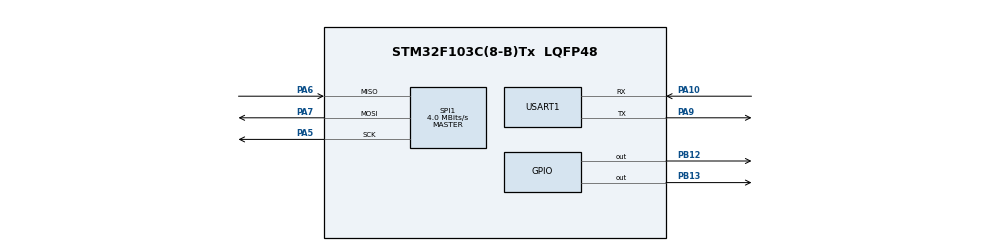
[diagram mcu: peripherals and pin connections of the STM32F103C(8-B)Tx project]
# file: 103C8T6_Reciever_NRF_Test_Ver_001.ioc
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Mcu.Family=STM32F1
Mcu.Name=STM32F103C(8-B)Tx
Mcu.Package=LQFP48
NVIC.PriorityGroup=NVIC_PRIORITYGROUP_4
PA10.Mode=Asynchronous
PA10.Signal=USART1_RX
PA13.Mode=Serial_Wire
PA13.Signal=SYS_JTMS-SWDIO
PA14.Mode=Serial_Wire
PA14.Signal=SYS_JTCK-SWCLK
PA5.Mode=Full_Duplex_Master
PA5.Signal=SPI1_SCK
PA6.Mode=Full_Duplex_Master
PA6.Signal=SPI1_MISO
PA7.Mode=Full_Duplex_Master
PA7.Signal=SPI1_MOSI
PA9.Mode=Asynchronous
PA9.Signal=USART1_TX
PB12.Signal=GPIO_Output
PB13.Signal=GPIO_Output
PC14-OSC32_IN.Mode=LSE-External-Oscillator
PC14-OSC32_IN.Signal=RCC_OSC32_IN
PC15-OSC32_OUT.Mode=LSE-External-Oscillator
PC15-OSC32_OUT.Signal=RCC_OSC32_OUT
PD0-OSC_IN.Mode=HSE-External-Oscillator
PD0-OSC_IN.Signal=RCC_OSC_IN
PD1-OSC_OUT.Mode=HSE-External-Oscillator
PD1-OSC_OUT.Signal=RCC_OSC_OUT
ProjectManager.HeapSize=0x200
ProjectManager.StackSize=0x400
ProjectManager.TargetToolchain=STM32CubeIDE
RCC.APB1Freq_Value=8000000
RCC.APB2Freq_Value=8000000
SPI1.CalculateBaudRate=4.0 MBits/s
SPI1.Direction=SPI_DIRECTION_2LINES
SPI1.Mode=SPI_MODE_MASTER
SPI1.VirtualType=VM_MASTER
USART1.VirtualMode=VM_ASYNC
board=custom

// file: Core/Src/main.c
/* USER CODE BEGIN Header */
/**
 ******************************************************************************
 * @file           : main.c
 * @brief          : Main program body (corrected)
 ******************************************************************************
 */
/* USER CODE END Header */
#include "main.h"

/* USER CODE BEGIN Includes */
#include <string.h>
/* USER CODE END Includes */

SPI_HandleTypeDef hspi1;

UART_HandleTypeDef huart1;

/* USER CODE BEGIN PV */
uint8_t txByte;
uint8_t rxByte;
/* single UART buffer used for prints */
char uart_buf[128];
/* USER CODE END PV */

void SystemClock_Config(void);
static void MX_GPIO_Init(void);
static void MX_SPI1_Init(void);
static void MX_USART1_UART_Init(void);
/* USER CODE BEGIN PFP */
/* === nRF Pins (your wiring) === */
#define NRF_CE_PIN      GPIO_PIN_13    // PB13
#define NRF_CE_PORT     GPIOB

#define NRF_CSN_PIN     GPIO_PIN_12    // PB12
#define NRF_CSN_PORT    GPIOB

#define CE_HIGH()   HAL_GPIO_WritePin(NRF_CE_PORT, NRF_CE_PIN, GPIO_PIN_SET)
#define CE_LOW()    HAL_GPIO_WritePin(NRF_CE_PORT, NRF_CE_PIN, GPIO_PIN_RESET)

#define CSN_HIGH()  HAL_GPIO_WritePin(NRF_CSN_PORT, NRF_CSN_PIN, GPIO_PIN_SET)
#define CSN_LOW()   HAL_GPIO_WritePin(NRF_CSN_PORT, NRF_CSN_PIN, GPIO_PIN_RESET)

/* nRF commands / regs */
#define NRF_CMD_R_REGISTER  0x00
#define NRF_CMD_W_REGISTER  0x20

#define NRF_REG_CONFIG      0x00
#define NRF_REG_RF_CH       0x05
#define NRF_REG_RF_SETUP    0x06
#define NRF_REG_STATUS      0x07

/* helper */
void uart_print(const char *s)
{
    HAL_UART_Transmit(&huart1, (uint8_t*)s, strlen(s), 300);
}

/* prototypes for nRF helpers */
uint8_t nrf24_read_reg(uint8_t reg);
void nrf24_write_reg(uint8_t reg, uint8_t value);
/* USER CODE END PFP */

/* USER CODE BEGIN 0 */

uint8_t nrf24_read_reg(uint8_t reg)
{
    uint8_t tx = NRF_CMD_R_REGISTER | (reg & 0x1F);
    uint8_t rx = 0xFF;

    CSN_LOW();
    /* send command byte */
    HAL_SPI_Transmit(&hspi1, &tx, 1, 100);
    /* read reply byte */
    HAL_SPI_Receive(&hspi1, &rx, 1, 100);
    CSN_HIGH();

    return rx;
}

void nrf24_write_reg(uint8_t reg, uint8_t value)
{
    uint8_t buf[2];
    buf[0] = NRF_CMD_W_REGISTER | (reg & 0x1F);
    buf[1] = value;

    CSN_LOW();
    HAL_SPI_Transmit(&hspi1, buf, 2, 100);
    CSN_HIGH();
}

/* USER CODE END 0 */

int main(void)
{

  /* MCU Configuration--------------------------------------------------------*/

  /* Reset of all peripherals, Initializes the Flash interface and the Systick. */
  HAL_Init();

  /* Configure the system clock */
  SystemClock_Config();

  /* Initialize all configured peripherals */
  MX_GPIO_Init();
  MX_SPI1_Init();
  MX_USART1_UART_Init();

  /* Infinite loop */
  while (1)
  {

  }
}

void SystemClock_Config(void)
{
  RCC_OscInitTypeDef RCC_OscInitStruct = {0};
  RCC_ClkInitTypeDef RCC_ClkInitStruct = {0};

  /** Initializes the RCC Oscillators according to the specified parameters
  * in the RCC_OscInitTypeDef structure.
  */
  RCC_OscInitStruct.OscillatorType = RCC_OSCILLATORTYPE_HSI;
  RCC_OscInitStruct.HSIState = RCC_HSI_ON;
  RCC_OscInitStruct.HSICalibrationValue = RCC_HSICALIBRATION_DEFAULT;
  RCC_OscInitStruct.PLL.PLLState = RCC_PLL_NONE;
  if (HAL_RCC_OscConfig(&RCC_OscInitStruct) != HAL_OK)
  {
    Error_Handler();
  }

  /** Initializes the CPU, AHB and APB buses clocks
  */
  RCC_ClkInitStruct.ClockType = RCC_CLOCKTYPE_HCLK|RCC_CLOCKTYPE_SYSCLK
                              |RCC_CLOCKTYPE_PCLK1|RCC_CLOCKTYPE_PCLK2;
  RCC_ClkInitStruct.SYSCLKSource = RCC_SYSCLKSOURCE_HSI;
  RCC_ClkInitStruct.AHBCLKDivider = RCC_SYSCLK_DIV1;
  RCC_ClkInitStruct.APB1CLKDivider = RCC_HCLK_DIV1;
  RCC_ClkInitStruct.APB2CLKDivider = RCC_HCLK_DIV1;

  if (HAL_RCC_ClockConfig(&RCC_ClkInitStruct, FLASH_LATENCY_0) != HAL_OK)
  {
    Error_Handler();
  }
}

static void MX_SPI1_Init(void)
{

  /* SPI1 parameter configuration*/
  hspi1.Instance = SPI1;
  hspi1.Init.Mode = SPI_MODE_MASTER;
  hspi1.Init.Direction = SPI_DIRECTION_2LINES;
  hspi1.Init.DataSize = SPI_DATASIZE_8BIT;
  hspi1.Init.CLKPolarity = SPI_POLARITY_LOW;
  hspi1.Init.CLKPhase = SPI_PHASE_1EDGE;
  hspi1.Init.NSS = SPI_NSS_SOFT;
  hspi1.Init.BaudRatePrescaler = SPI_BAUDRATEPRESCALER_2;
  hspi1.Init.FirstBit = SPI_FIRSTBIT_MSB;
  hspi1.Init.TIMode = SPI_TIMODE_DISABLE;
  hspi1.Init.CRCCalculation = SPI_CRCCALCULATION_DISABLE;
  hspi1.Init.CRCPolynomial = 10;
  if (HAL_SPI_Init(&hspi1) != HAL_OK)
  {
    Error_Handler();
  }

}

static void MX_USART1_UART_Init(void)
{

  huart1.Instance = USART1;
  huart1.Init.BaudRate = 115200;
  huart1.Init.WordLength = UART_WORDLENGTH_8B;
  huart1.Init.StopBits = UART_STOPBITS_1;
  huart1.Init.Parity = UART_PARITY_NONE;
  huart1.Init.Mode = UART_MODE_TX_RX;
  huart1.Init.HwFlowCtl = UART_HWCONTROL_NONE;
  huart1.Init.OverSampling = UART_OVERSAMPLING_16;
  if (HAL_UART_Init(&huart1) != HAL_OK)
  {
    Error_Handler();
  }

}

static void MX_GPIO_Init(void)
{
  GPIO_InitTypeDef GPIO_InitStruct = {0};

  /* GPIO Ports Clock Enable */
  __HAL_RCC_GPIOC_CLK_ENABLE();
  __HAL_RCC_GPIOD_CLK_ENABLE();
  __HAL_RCC_GPIOA_CLK_ENABLE();
  __HAL_RCC_GPIOB_CLK_ENABLE();

  /*Configure GPIO pin Output Level */
  HAL_GPIO_WritePin(GPIOB, GPIO_PIN_12|GPIO_PIN_13, GPIO_PIN_RESET);

  /*Configure GPIO pins : PB12 PB13 */
  GPIO_InitStruct.Pin = GPIO_PIN_12|GPIO_PIN_13;
  GPIO_InitStruct.Mode = GPIO_MODE_OUTPUT_PP;
  GPIO_InitStruct.Pull = GPIO_NOPULL;
  GPIO_InitStruct.Speed = GPIO_SPEED_FREQ_LOW;
  HAL_GPIO_Init(GPIOB, &GPIO_InitStruct);

}

void Error_Handler(void)
{
  __disable_irq();
  while (1)
  {
  }
}
